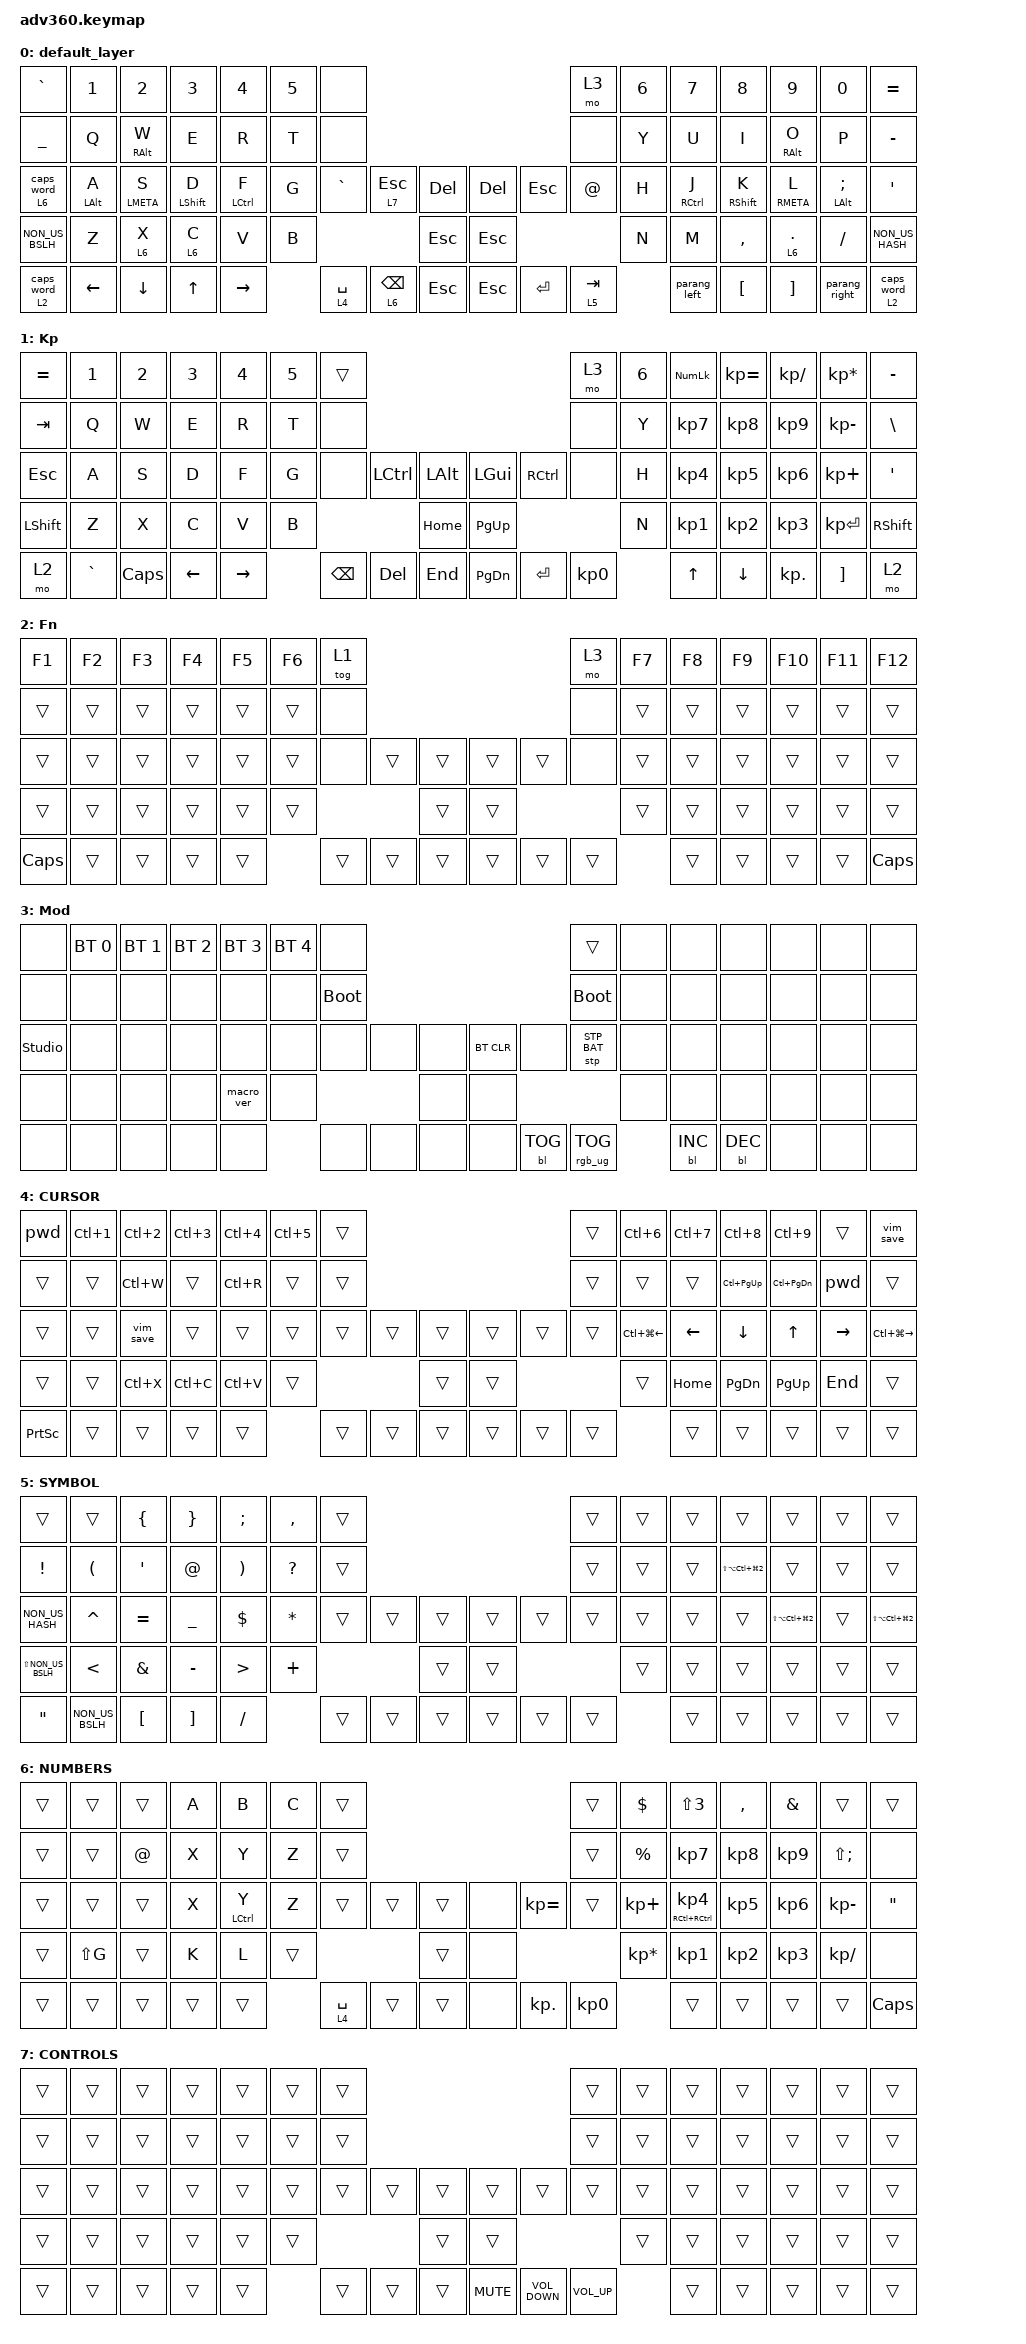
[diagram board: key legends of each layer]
#include <dt-bindings/zmk/stp.h>
#include <behaviors.dtsi>
#include <dt-bindings/zmk/backlight.h>
#include <dt-bindings/zmk/bt.h>
#include <dt-bindings/zmk/keys.h>
#include <dt-bindings/zmk/rgb.h>

/ {
    behaviors {
        #include "macros.dtsi"
        #include "version.dtsi"

        hm: homerow_mods {
            compatible = "zmk,behavior-hold-tap";
            label = "HOMEROW_MODS";
            #binding-cells = <2>;
            tapping-term-ms = <180>;
            flavor = "tap-preferred";
            bindings = <&kp>, <&kp>;

            quick-tap-ms = <155>;
        };

        hmsft: homerow_mods_shift {
            compatible = "zmk,behavior-hold-tap";
            label = "HOMEROW_MODS_SHIFT";
            #binding-cells = <2>;
            tapping-term-ms = <150>; //Orig 200 // Orig: 175
            flavor = "tap-preferred";
            bindings = <&kp>, <&kp>;

            quick-tap-ms = <125>;
        };

        //
        // Thumb cluster hold-tap keys for Miryoku layers
        //

        thumb: thumb_layer_access {
            compatible = "zmk,behavior-hold-tap";
            flavor = "tap-preferred";
            tapping-term-ms = <180>;
            quick-tap-ms = <155>; // enable repeat
            #binding-cells = <2>;
            bindings = <&mo>, <&kp>;
        };

        space: thumb_layer_access_spacebar {
            compatible = "zmk,behavior-hold-tap";
            flavor = "tap-preferred";
            tapping-term-ms = <180>;
            quick-tap-ms = <155>; // enable repeat
            #binding-cells = <2>;
            bindings = <&mo>, <&kp>;
        };

        //
        // Shift + LEFT_PARENTHESIS = LESS_THAN
        //

        parang_left: left_parenthesis_and_less_than {
            compatible = "zmk,behavior-mod-morph";
            #binding-cells = <0>;
            bindings = <&kp LPAR>, <&kp LT>;

            mods = <(MOD_LSFT|MOD_RSFT)>;
        };

        //
        // Shift + RIGHT_PARENTHESIS = GREATER_THAN
        //

        parang_right: right_parenthesis_and_greater_than {
            compatible = "zmk,behavior-mod-morph";
            #binding-cells = <0>;
            bindings = <&kp RPAR>, <&kp GT>;

            mods = <(MOD_LSFT|MOD_RSFT)>;
        };

        lt_caps_word: lt_caps_word {
            compatible = "zmk,behavior-hold-tap";
            #binding-cells = <2>;
            flavor = "tap-preferred";
            tapping-term-ms = <260>;
            bindings = <&mo>, <&caps_word>;
        };

        macros {
            vim_save: vim_save {
                compatible = "zmk,behavior-macro";
                label = "VIM_SAVE";
                #binding-cells = <0>;
                bindings = <&kp ESCAPE &kp SPACE &kp BSPC &kp LS(SEMI) &kp SPACE &kp BSPC &kp W &kp SPACE &kp BSPC &kp ENTER>;
            };

            pwd: pwd {
                compatible = "zmk,behavior-macro";
                #binding-cells = <0>;
                bindings = <&kp A &kp SPACE &kp BACKSPACE &kp B &kp SPACE &kp BACKSPACE &kp DOUBLE_QUOTES &kp SPACE &kp BACKSPACE &kp N1 &kp SPACE &kp BACKSPACE &kp N2 &kp SPACE &kp BACKSPACE &kp N3 &kp SPACE &kp BACKSPACE &kp N4 &kp SPACE &kp BACKSPACE &kp N5 &kp RET>;
                label = "PWD";
            };
        };
    };

    macros {
    };

    keymap {
        compatible = "zmk,keymap";

        default_layer {
            bindings = <
&kp GRAVE          &kp N1          &kp N2           &kp N3          &kp N4       &kp N5  &none                                                                       &mo 3         &kp N6  &kp N7        &kp N8            &kp N9             &kp N0             &kp EQUAL
&kp UNDER          &kp Q           &hm RIGHT_ALT W  &kp E           &kp R        &kp T   &none                                                                       &none         &kp Y   &kp U         &kp I             &hm RIGHT_ALT O    &kp P              &kp MINUS
&lt_caps_word 6 0  &hm LEFT_ALT A  &hm LMETA S      &hmsft LSHFT D  &hm LCTRL F  &kp G   &kp GRAVE       &lt 7 ESCAPE        &kp DELETE      &kp DELETE  &kp ESCAPE  &kp AT        &kp H   &hm RCTRL J   &hmsft RSHFT K    &hm RMETA L        &hm LEFT_ALT SEMI  &kp SQT
&kp NON_US_BSLH    &kp Z           &space 6 X       &space 6 C      &kp V        &kp B                                       &kp ESCAPE      &kp ESCAPE                            &kp N   &kp M         &kp COMMA         &space 6 PERIOD    &kp FSLH           &kp NON_US_HASH
&lt_caps_word 2 0  &kp LEFT        &kp DOWN         &kp UP_ARROW    &kp RIGHT            &space 4 SPACE  &thumb 6 BACKSPACE  &kp ESCAPE      &kp ESC     &kp RET     &thumb 5 TAB          &parang_left  &kp LEFT_BRACKET  &kp RIGHT_BRACKET  &parang_right      &lt_caps_word 2 0
            >;
        };

        keypad {
            display-name = "Kp";
            bindings = <
&kp EQUAL  &kp N1     &kp N2    &kp N3    &kp N4     &kp N5  &trans                                                   &mo 3      &kp N6  &kp KP_NUM  &kp KP_EQUAL  &kp KP_DIVIDE  &kp KP_MULTIPLY  &kp MINUS
&kp TAB    &kp Q      &kp W     &kp E     &kp R      &kp T   &none                                                    &none      &kp Y   &kp KP_N7   &kp KP_N8     &kp KP_N9      &kp KP_MINUS     &kp BSLH
&kp ESC    &kp A      &kp S     &kp D     &kp F      &kp G   &none     &kp LCTRL  &kp LALT      &kp LGUI   &kp RCTRL  &none      &kp H   &kp KP_N4   &kp KP_N5     &kp KP_N6      &kp KP_PLUS      &kp SQT
&kp LSHFT  &kp Z      &kp X     &kp C     &kp V      &kp B                        &kp HOME      &kp PG_UP                        &kp N   &kp KP_N1   &kp KP_N2     &kp KP_N3      &kp KP_ENTER     &kp RSHFT
&mo 2      &kp GRAVE  &kp CAPS  &kp LEFT  &kp RIGHT          &kp BSPC  &kp DEL    &kp END       &kp PG_DN  &kp ENTER  &kp KP_N0          &kp UP      &kp DOWN      &kp KP_DOT     &kp RBKT         &mo 2
            >;
        };

        fn {
            display-name = "Fn";
            bindings = <
&kp F1    &kp F2  &kp F3  &kp F4  &kp F5  &kp F6  &tog 1                                      &mo 3   &kp F7  &kp F8  &kp F9  &kp F10  &kp F11  &kp F12
&trans    &trans  &trans  &trans  &trans  &trans  &none                                       &none   &trans  &trans  &trans  &trans   &trans   &trans
&trans    &trans  &trans  &trans  &trans  &trans  &none   &trans  &trans      &trans  &trans  &none   &trans  &trans  &trans  &trans   &trans   &trans
&trans    &trans  &trans  &trans  &trans  &trans                  &trans      &trans                  &trans  &trans  &trans  &trans   &trans   &trans
&kp CAPS  &trans  &trans  &trans  &trans          &trans  &trans  &trans      &trans  &trans  &trans          &trans  &trans  &trans   &trans   &kp CAPS
            >;
        };

        mod {
            display-name = "Mod";
            bindings = <
&none           &bt BT_SEL 0  &bt BT_SEL 1  &bt BT_SEL 2  &bt BT_SEL 3  &bt BT_SEL 4  &none                                                  &trans           &none  &none       &none       &none  &none  &none
&none           &none         &none         &none         &none         &none         &bootloader                                            &bootloader      &none  &none       &none       &none  &none  &none
&studio_unlock  &none         &none         &none         &none         &none         &none        &none  &none      &bt BT_CLR  &none       &stp STP_BAT     &none  &none       &none       &none  &none  &none
&none           &none         &none         &none         &macro_ver    &none                             &none      &none                                    &none  &none       &none       &none  &none  &none
&none           &none         &none         &none         &none                       &none        &none  &none      &none       &bl BL_TOG  &rgb_ug RGB_TOG         &bl BL_INC  &bl BL_DEC  &none  &none  &none
            >;
        };

        CURSOR {
            bindings = <
&pwd             &kp LC(N1)  &kp LC(NUMBER_2)  &kp LC(NUMBER_3)  &kp LC(NUMBER_4)  &kp LC(N5)  &trans                                      &trans  &kp LC(NUMBER_6)  &kp LC(N7)  &kp LC(N8)       &kp LC(N9)         &trans     &vim_save
&trans           &trans      &kp LC(W)         &trans            &kp LC(R)         &trans      &trans                                      &trans  &trans            &trans      &kp LC(PAGE_UP)  &kp LC(PAGE_DOWN)  &pwd       &trans
&trans           &trans      &vim_save         &trans            &trans            &trans      &trans  &trans  &trans      &trans  &trans  &trans  &kp LC(LG(LEFT))  &kp LEFT    &kp DOWN         &kp UP_ARROW       &kp RIGHT  &kp LC(LG(RIGHT))
&trans           &trans      &kp LC(X)         &kp LC(C)         &kp LC(V)         &trans                      &trans      &trans                  &trans            &kp HOME    &kp PAGE_DOWN    &kp PAGE_UP        &kp END    &trans
&kp PRINTSCREEN  &trans      &trans            &trans            &trans                        &trans  &trans  &trans      &trans  &trans  &trans                    &trans      &trans           &trans             &trans     &trans
            >;
        };

        SYMBOL {
            bindings = <
&trans               &trans                &kp LEFT_BRACE    &kp RIGHT_BRACE    &kp SEMI               &kp COMMA     &trans                                      &trans  &trans  &trans  &trans                        &trans                        &trans  &trans
&kp EXCL             &kp LEFT_PARENTHESIS  &kp SINGLE_QUOTE  &kp AT             &kp RIGHT_PARENTHESIS  &kp QUESTION  &trans                                      &trans  &trans  &trans  &kp LS(LA(LC(LG(NUMBER_2))))  &trans                        &trans  &trans
&kp NON_US_HASH      &kp CARET             &kp EQUAL         &kp UNDER          &kp DOLLAR             &kp ASTERISK  &trans  &trans  &trans      &trans  &trans  &trans  &trans  &trans  &trans                        &kp LS(LA(LC(LG(NUMBER_2))))  &trans  &kp LS(LA(LC(LG(NUMBER_2))))
&kp LS(NON_US_BSLH)  &kp LESS_THAN         &kp AMPERSAND     &kp MINUS          &kp GREATER_THAN       &kp PLUS                      &trans      &trans                  &trans  &trans  &trans                        &trans                        &trans  &trans
&kp DOUBLE_QUOTES    &kp NON_US_BSLH       &kp LEFT_BRACKET  &kp RIGHT_BRACKET  &kp SLASH                            &trans  &trans  &trans      &trans  &trans  &trans          &trans  &trans                        &trans                        &trans  &trans
            >;
        };

        NUMBERS {
            bindings = <
&trans  &trans     &trans  &kp A   &kp B               &kp C   &trans                                                   &trans           &kp DOLLAR       &kp LS(N3)                         &kp COMMA        &kp AMPERSAND    &trans           &trans
&trans  &trans     &kp AT  &kp X   &kp Y               &kp Z   &trans                                                   &trans           &kp PERCENT      &kp KP_NUMBER_7                    &kp KP_NUMBER_8  &kp KP_NUMBER_9  &kp LS(SEMI)     &none
&trans  &trans     &trans  &kp X   &hm LEFT_CONTROL Y  &kp Z   &trans          &trans  &trans      &none  &kp KP_EQUAL  &trans           &kp KP_PLUS      &hm RC(RIGHT_CONTROL) KP_NUMBER_4  &kp KP_NUMBER_5  &kp KP_NUMBER_6  &kp KP_SUBTRACT  &kp DOUBLE_QUOTES
&trans  &kp LS(G)  &trans  &kp K   &kp L               &trans                          &trans      &none                                 &kp KP_ASTERISK  &kp KP_NUMBER_1                    &kp KP_NUMBER_2  &kp KP_NUMBER_3  &kp KP_DIVIDE    &none
&trans  &trans     &trans  &trans  &trans                      &space 4 SPACE  &trans  &trans      &none  &kp KP_DOT    &kp KP_NUMBER_0                   &trans                             &trans           &trans           &trans           &kp CAPS
            >;
        };

        CONTROLS {
            bindings = <
&trans  &trans  &trans  &trans  &trans  &trans  &trans                                                     &trans           &trans  &trans  &trans  &trans  &trans  &trans
&trans  &trans  &trans  &trans  &trans  &trans  &trans                                                     &trans           &trans  &trans  &trans  &trans  &trans  &trans
&trans  &trans  &trans  &trans  &trans  &trans  &trans  &trans  &trans      &trans      &trans             &trans           &trans  &trans  &trans  &trans  &trans  &trans
&trans  &trans  &trans  &trans  &trans  &trans                  &trans      &trans                                          &trans  &trans  &trans  &trans  &trans  &trans
&trans  &trans  &trans  &trans  &trans          &trans  &trans  &trans      &kp C_MUTE  &kp C_VOLUME_DOWN  &kp C_VOLUME_UP          &trans  &trans  &trans  &trans  &trans
            >;
        };

        extra1 {
            display-name = "Red";
            status = "reserved";
        };

        extra2 {
            display-name = "Purple";
            status = "reserved";
        };

        extra3 {
            display-name = "Cyan";
            status = "reserved";
        };

        extra4 {
            display-name = "Yellow";
            status = "reserved";
        };
    };
};
